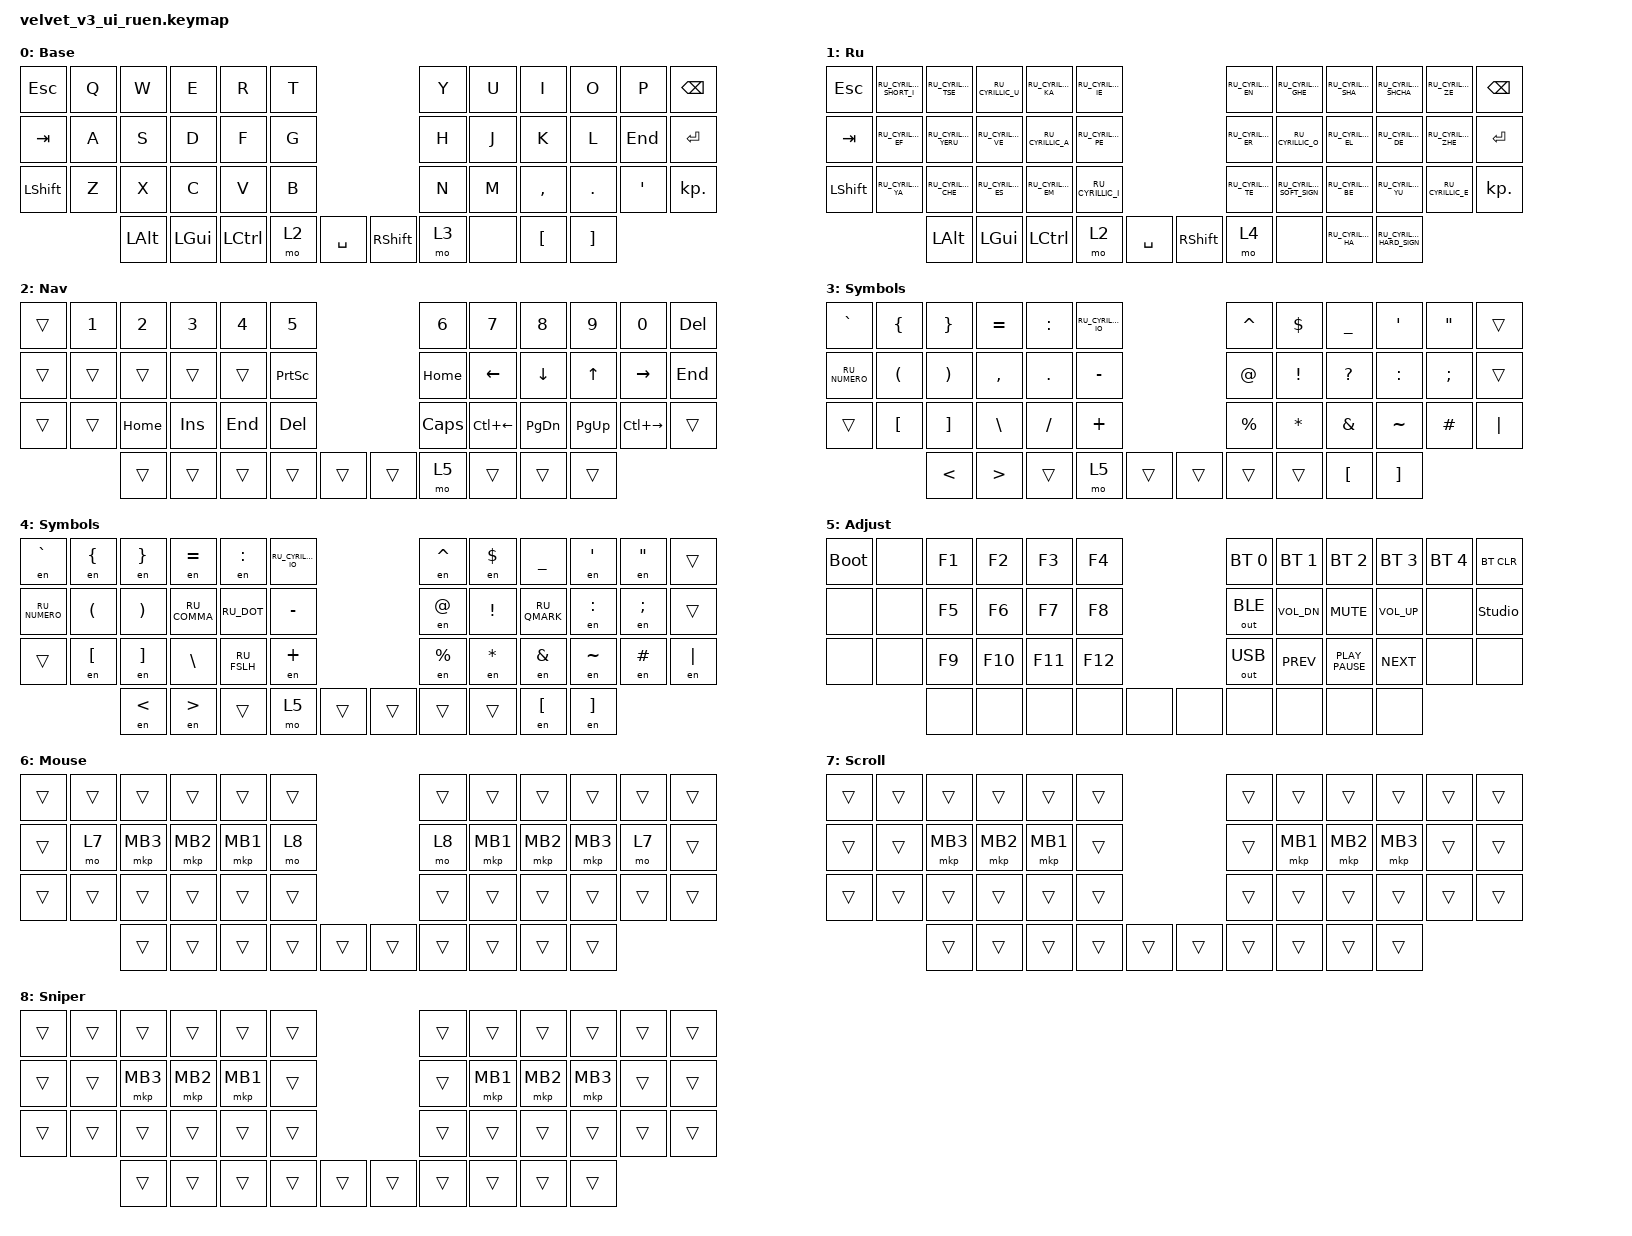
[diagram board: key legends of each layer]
#include "keys_ru.h"
#include <dt-bindings/zmk/input_transform.h>
#include <input/processors.dtsi>
#include <zephyr/dt-bindings/input/input-event-codes.h>
#include <behaviors.dtsi>
#include <dt-bindings/zmk/bt.h>
#include <dt-bindings/zmk/keys.h>
#include <dt-bindings/zmk/outputs.h>
#include <dt-bindings/zmk/pointing.h>

/ {
    behaviors {
        cap_sen: cap_sen {
            compatible = "zmk,behavior-hold-tap";
            label = "CAP_SEN";
            bindings = <&mo>, <&mkp>;

            #binding-cells = <2>;
            tapping-term-ms = <150>;
            hold-while-undecided;
        };

        mouse_layer: mouse_layer {
            compatible = "zmk,behavior-sticky-key";
            label = "MOUSE_LAYER";
            bindings = <&mo>;
            #binding-cells = <1>;
            release-after-ms = <200>;
        };

        zip_auto_mouse: zip_auto_mouse {
            compatible = "zmk,input-processor-temp-layer";
            #input-processor-cells = <2>;
            require-prior-idle-ms = <800>;
            excluded-positions = <>;
        };
    };

    combos {
        compatible = "zmk,combos";

        cmben {
            bindings = <&layer_en>;
            key-positions = <3 4>;
            layers = <1>;
        };

        cmbru {
            bindings = <&layer_ru>;
            key-positions = <3 4>;
            layers = <0>;
        };
    };

    macros {
        to_ru: to_ru {
            compatible = "zmk,behavior-macro";
            #binding-cells = <0>;
            bindings = <&kp LS(LC(N2))>;
            label = "TO_RU";
            wait-ms = <0>;
            tap-ms = <30>;
        };

        to_en: to_en {
            compatible = "zmk,behavior-macro";
            #binding-cells = <0>;
            bindings = <&kp LS(LC(N1))>;
            label = "TO_EN";
            wait-ms = <0>;
            tap-ms = <30>;
        };

        layer_en: layer_en {
            compatible = "zmk,behavior-macro";
            #binding-cells = <0>;
            bindings = <&to 0 &to_en>;
            label = "LAYER_EN";
            wait-ms = <0>;
            tap-ms = <30>;
        };

        layer_ru: layer_ru {
            compatible = "zmk,behavior-macro";
            #binding-cells = <0>;
            bindings = <&to 1 &to_ru>;
            label = "LAYER_RU";
            tap-ms = <30>;
            wait-ms = <0>;
        };

        en: en {
            compatible = "zmk,behavior-macro-one-param";
            #binding-cells = <1>;
            bindings =
                <&to_en>,
                <&macro_press>,
                <&macro_param_1to1 &kp MACRO_PLACEHOLDER>,
                <&macro_pause_for_release>,
                <&macro_release>,
                <&macro_param_1to1 &kp MACRO_PLACEHOLDER>,
                <&macro_tap>,
                <&to_ru>;

            label = "EN";
            wait-ms = <0>;
            tap-ms = <30>;
        };

        new_line: new_line {
            compatible = "zmk,behavior-macro";
            #binding-cells = <0>;
            bindings = <&kp RET>;
            label = "NEW_LINE";
        };
    };

    keymap {
        compatible = "zmk,keymap";

        en {
            bindings = <
&kp ESC    &kp Q  &kp W     &kp E     &kp R      &kp T                          &kp Y  &kp U  &kp I      &kp O     &kp P    &kp BSPC
&kp TAB    &kp A  &kp S     &kp D     &kp F      &kp G                          &kp H  &kp J  &kp K      &kp L     &kp END  &kp RET
&kp LSHFT  &kp Z  &kp X     &kp C     &kp V      &kp B                          &kp N  &kp M  &kp COMMA  &kp DOT   &kp SQT  &kp KP_DOT
                  &kp LALT  &kp LGUI  &kp LCTRL  &mo 2  &kp SPACE    &kp RSHFT  &mo 3  &none  &kp LBKT   &kp RBKT
            >;

            display-name = "Base";
        };

        ru {
            display-name = "Ru";
            bindings = <
&kp ESC    &kp RU_CYRILLIC_SHORT_I  &kp RU_CYRILLIC_TSE   &kp RU_CYRILLIC_U   &kp RU_CYRILLIC_KA  &kp RU_CYRILLIC_IE                          &kp RU_CYRILLIC_EN  &kp RU_CYRILLIC_GHE        &kp RU_CYRILLIC_SHA  &kp RU_CYRILLIC_SHCHA      &kp RU_CYRILLIC_ZE   &kp BSPC
&kp TAB    &kp RU_CYRILLIC_EF       &kp RU_CYRILLIC_YERU  &kp RU_CYRILLIC_VE  &kp RU_CYRILLIC_A   &kp RU_CYRILLIC_PE                          &kp RU_CYRILLIC_ER  &kp RU_CYRILLIC_O          &kp RU_CYRILLIC_EL   &kp RU_CYRILLIC_DE         &kp RU_CYRILLIC_ZHE  &kp RET
&kp LSHFT  &kp RU_CYRILLIC_YA       &kp RU_CYRILLIC_CHE   &kp RU_CYRILLIC_ES  &kp RU_CYRILLIC_EM  &kp RU_CYRILLIC_I                           &kp RU_CYRILLIC_TE  &kp RU_CYRILLIC_SOFT_SIGN  &kp RU_CYRILLIC_BE   &kp RU_CYRILLIC_YU         &kp RU_CYRILLIC_E    &kp KP_DOT
                                    &kp LALT              &kp LGUI            &kp LCTRL           &mo 2               &kp SPACE    &kp RSHFT  &mo 4               &none                      &kp RU_CYRILLIC_HA   &kp RU_CYRILLIC_HARD_SIGN
            >;
        };

        nav {
            bindings = <
&trans  &kp N1  &kp N2    &kp N3   &kp N4   &kp N5                             &kp N6    &kp N7        &kp N8         &kp N9       &kp N0         &kp DELETE
&trans  &trans  &trans    &trans   &trans   &kp PRINTSCREEN                    &kp HOME  &kp LEFT      &kp DOWN       &kp UP       &kp RIGHT      &kp END
&trans  &trans  &kp HOME  &kp INS  &kp END  &kp DEL                            &kp CLCK  &kp LC(LEFT)  &kp PAGE_DOWN  &kp PAGE_UP  &kp LC(RIGHT)  &trans
                &trans    &trans   &trans   &trans           &trans    &trans  &mo 5     &trans        &trans         &trans
            >;

            display-name = "Nav";
        };

        sym_en {
            bindings = <
&kp GRAVE      &kp LEFT_BRACE  &kp RIGHT_BRACE  &kp EQUAL      &kp COLON   &kp RU_CYRILLIC_IO                    &kp CARET    &kp DLLR  &kp UNDER     &kp SQT    &kp DQT        &trans
&kp RU_NUMERO  &kp LPAR        &kp RPAR         &kp COMMA      &kp PERIOD  &kp MINUS                             &kp AT       &kp EXCL  &kp QUESTION  &kp COLON  &kp SEMICOLON  &trans
&trans         &kp LBKT        &kp RBKT         &kp BACKSLASH  &kp FSLH    &kp PLUS                              &kp PERCENT  &kp STAR  &kp AMPS      &kp TILDE  &kp HASH       &kp PIPE
                               &kp LT           &kp GT         &trans      &mo 5               &trans    &trans  &trans       &trans    &kp LBKT      &kp RBKT
            >;

            display-name = "Symbols";
        };

        sym_ru {
            display-name = "Symbols";
            bindings = <
&en GRAVE      &en LEFT_BRACE  &en RIGHT_BRACE  &en EQUAL      &en COLON    &kp RU_CYRILLIC_IO                    &en CARET    &en DLLR      &kp UNDER     &en SQT    &en DOUBLE_QUOTES  &trans
&kp RU_NUMERO  &kp LPAR        &kp RPAR         &kp RU_COMMA   &kp RU_DOT   &kp MINUS                             &en AT       &kp EXCL      &kp RU_QMARK  &en COLON  &en SEMICOLON      &trans
&trans         &en LBKT        &en RBKT         &kp BACKSLASH  &kp RU_FSLH  &en PLUS                              &en PERCENT  &en ASTERISK  &en AMPS      &en TILDE  &en HASH           &en PIPE
                               &en LT           &en GT         &trans       &mo 5               &trans    &trans  &trans       &trans        &en LBKT      &en RBKT
            >;
        };

        adj {
            bindings = <
&bootloader  &none  &kp F1  &kp F2   &kp F3   &kp F4                   &bt BT_SEL 0  &bt BT_SEL 1  &bt BT_SEL 2      &bt BT_SEL 3  &bt BT_SEL 4  &bt BT_CLR
&none        &none  &kp F5  &kp F6   &kp F7   &kp F8                   &out OUT_BLE  &kp C_VOL_DN  &kp K_MUTE        &kp C_VOL_UP  &none         &studio_unlock
&none        &none  &kp F9  &kp F10  &kp F11  &kp F12                  &out OUT_USB  &kp K_PREV    &kp K_PLAY_PAUSE  &kp K_NEXT    &none         &none
                    &none   &none    &none    &none    &none    &none  &none         &none         &none             &none
            >;

            display-name = "Adjust";
        };

        mouse {
            bindings = <
&trans  &trans  &trans    &trans    &trans    &trans                    &trans  &trans    &trans    &trans    &trans  &trans
&trans  &mo 7   &mkp MB3  &mkp MB2  &mkp MB1  &mo 8                     &mo 8   &mkp MB1  &mkp MB2  &mkp MB3  &mo 7   &trans
&trans  &trans  &trans    &trans    &trans    &trans                    &trans  &trans    &trans    &trans    &trans  &trans
                &trans    &trans    &trans    &trans  &trans    &trans  &trans  &trans    &trans    &trans
            >;

            display-name = "Mouse";
        };

        scroll {
            bindings = <
&trans  &trans  &trans    &trans    &trans    &trans                    &trans  &trans    &trans    &trans    &trans  &trans
&trans  &trans  &mkp MB3  &mkp MB2  &mkp MB1  &trans                    &trans  &mkp MB1  &mkp MB2  &mkp MB3  &trans  &trans
&trans  &trans  &trans    &trans    &trans    &trans                    &trans  &trans    &trans    &trans    &trans  &trans
                &trans    &trans    &trans    &trans  &trans    &trans  &trans  &trans    &trans    &trans
            >;

            display-name = "Scroll";
        };

        sniper {
            bindings = <
&trans  &trans  &trans    &trans    &trans    &trans                    &trans  &trans    &trans    &trans    &trans  &trans
&trans  &trans  &mkp MB3  &mkp MB2  &mkp MB1  &trans                    &trans  &mkp MB1  &mkp MB2  &mkp MB3  &trans  &trans
&trans  &trans  &trans    &trans    &trans    &trans                    &trans  &trans    &trans    &trans    &trans  &trans
                &trans    &trans    &trans    &trans  &trans    &trans  &trans  &trans    &trans    &trans
            >;

            display-name = "Sniper";
        };
    };
};

&trackball { cpi = <1000>; };

&trackball_listener {
    input-processors = <&zip_auto_mouse 6 500>, <&zip_xy_scaler 9 20>;

    scroller {
        layers = <7>;
        input-processors =
            <&zip_xy_transform INPUT_TRANSFORM_Y_INVERT>,
            <&zip_xy_scaler 1 32>,
            <&zip_xy_to_scroll_mapper>;
    };

    sniper {
        layers = <8>;
        input-processors = <&zip_xy_scaler 1 4>;
    };
};
